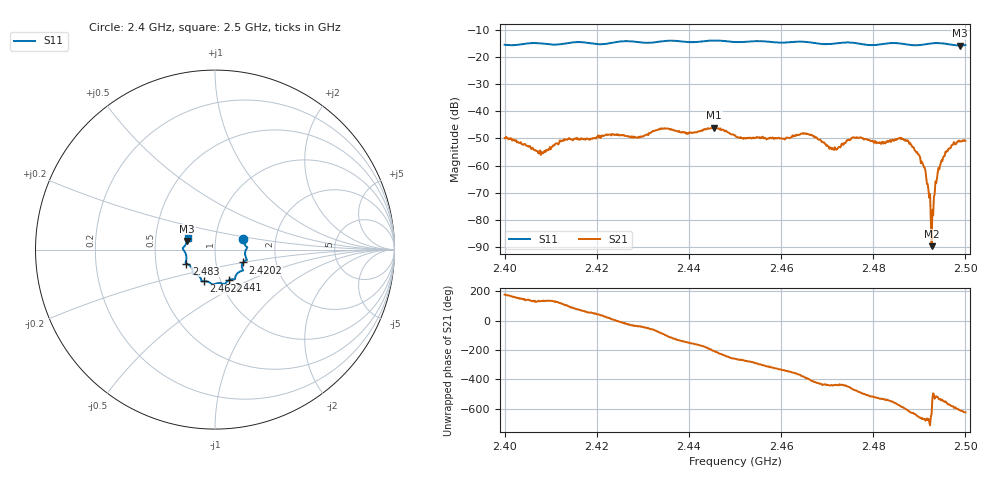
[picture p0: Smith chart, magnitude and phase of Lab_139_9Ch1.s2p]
# Hz S RI R 50
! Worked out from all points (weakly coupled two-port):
!   601 points, 2.4 GHz to 2.5 GHz, reference 50 ohm
!   highest |S21| = -46.08 dB at 2.4455 GHz (marker M1); lowest = -89.7 dB at 2.4927 GHz (marker M2)
!   lowest |S11| = -15.8 dB at 2.4988 GHz (marker M3), VSWR 1.39, Z = 36.4 + j3.46 ohm
!   |S11| at or under -10 dB: start of sweep to end of sweep
!   S12 and S22 are empty: the file has one direction only
!   S11 on the Smith chart (normalised r, x): 2.4 GHz: 1.36, +0.17; 2.4202 GHz: 1.35, -0.20; 2.441 GHz: 1.10, -0.39; 2.4622 GHz: 0.83, -0.30; 2.483 GHz: 0.72, -0.12; 2.5 GHz: 0.73, +0.09
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2.4e9  0.1563 0.0604  -0.00319 6.16e-05  0 0  0 0
2.407833e9  0.1776 0.00887  -0.0011 0.00112  0 0  0 0
2.416667e9  0.1775 -0.0585  0.00116 0.00296  0 0  0 0
2.420167e9  0.1561 -0.0717  0.00248 0.00234  0 0  0 0
2.433333e9  0.113 -0.1523  0.00116 -0.00442  0 0  0 0
2.441e9  0.0768 -0.1705  -0.00374 -0.00155  0 0  0 0
2.4455e9  0.0529 -0.1937  -0.00441 0.00229  0 0  0 0
2.45e9  0.0266 -0.1862  -0.000645 0.00357  0 0  0 0
2.462167e9  -0.0631 -0.1766  0.00325 0.000613  0 0  0 0
2.466667e9  -0.0767 -0.1669  0.00227 -0.00282  0 0  0 0
2.4715e9  -0.1105 -0.137  0.000382 -0.00191  0 0  0 0
2.475833e9  -0.1254 -0.1314  -0.00124 -0.00307  0 0  0 0
2.483e9  -0.1592 -0.0781  -0.00272 -7.59e-05  0 0  0 0
2.483333e9  -0.1608 -0.0775  -0.00273 0.000172  0 0  0 0
2.487e9  -0.1607 -0.0595  -0.00136 0.00266  0 0  0 0
2.489667e9  -0.1621 -0.0263  0.000619 0.00151  0 0  0 0
2.491e9  -0.1689 -0.0109  0.000626 0.00069  0 0  0 0
2.492667e9  -0.1775 0.00172  3.71e-06 3.27e-05  0 0  0 0
2.494e9  -0.1797 0.00701  -0.000705 -0.000251  0 0  0 0
2.495167e9  -0.1767 0.0114  -0.0014 0.000228  0 0  0 0
2.498833e9  -0.1552 0.0462  -0.000891 0.00262  0 0  0 0
2.5e9  -0.1528 0.0627  -0.000217 0.00286  0 0  0 0
